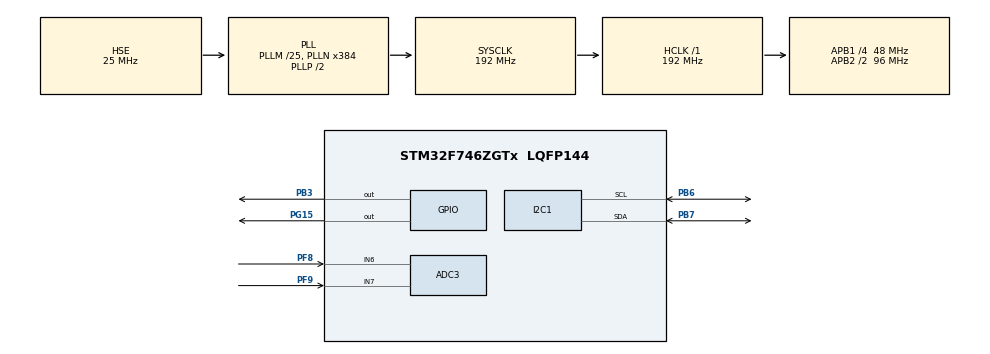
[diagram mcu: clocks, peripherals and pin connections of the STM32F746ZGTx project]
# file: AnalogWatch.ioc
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ADC3.Channel-0\#ChannelRegularConversion=ADC_CHANNEL_6
ADC3.ContinuousConvMode=ENABLE
ADC3.DMAContinuousRequests=ENABLE
ADC3.EOCSelection=ADC_EOC_SEQ_CONV
ADC3.InjNumberOfConversion=0
ADC3.NbrOfConversion=1
ADC3.NbrOfConversionFlag=1
ADC3.Rank-0\#ChannelRegularConversion=1
ADC3.SamplingTime-0\#ChannelRegularConversion=ADC_SAMPLETIME_480CYCLES
ADC3.ScanConvMode=ADC_SCAN_ENABLE
Dma.ADC3.0.Direction=DMA_PERIPH_TO_MEMORY
Dma.ADC3.0.FIFOMode=DMA_FIFOMODE_DISABLE
Dma.ADC3.0.Instance=DMA2_Stream0
Dma.ADC3.0.MemDataAlignment=DMA_MDATAALIGN_WORD
Dma.ADC3.0.MemInc=DMA_MINC_ENABLE
Dma.ADC3.0.Mode=DMA_CIRCULAR
Dma.ADC3.0.PeriphDataAlignment=DMA_PDATAALIGN_WORD
Dma.ADC3.0.PeriphInc=DMA_PINC_DISABLE
Dma.ADC3.0.Priority=DMA_PRIORITY_LOW
Dma.Request0=ADC3
I2C1.Timing=0x20303E5D
Mcu.Family=STM32F7
Mcu.Name=STM32F746ZGTx
Mcu.Package=LQFP144
NVIC.DMA2_Stream0_IRQn=true\:0\:0\:false\:false\:true\:false\:true
NVIC.PriorityGroup=NVIC_PRIORITYGROUP_4
PB3.Signal=GPIO_Output
PB4.Signal=S_TIM3_CH1
PB6.Mode=I2C
PB6.Signal=I2C1_SCL
PB7.Mode=I2C
PB7.Signal=I2C1_SDA
PC14/OSC32_IN.Mode=LSE-External-Oscillator
PC14/OSC32_IN.Signal=RCC_OSC32_IN
PC15/OSC32_OUT.Mode=LSE-External-Oscillator
PC15/OSC32_OUT.Signal=RCC_OSC32_OUT
PF8.Mode=IN6
PF8.Signal=ADC3_IN6
PF9.Mode=IN7
PF9.Signal=ADC3_IN7
PG15.Signal=GPIO_Output
PH0/OSC_IN.Mode=HSE-External-Oscillator
PH0/OSC_IN.Signal=RCC_OSC_IN
PH1/OSC_OUT.Mode=HSE-External-Oscillator
PH1/OSC_OUT.Signal=RCC_OSC_OUT
ProjectManager.HeapSize=0x200
ProjectManager.StackSize=0x400
ProjectManager.TargetToolchain=STM32CubeIDE
RCC.AHBFreq_Value=192000000
RCC.APB1CLKDivider=RCC_HCLK_DIV4
RCC.APB1Freq_Value=48000000
RCC.APB1TimFreq_Value=96000000
RCC.APB2CLKDivider=RCC_HCLK_DIV2
RCC.APB2Freq_Value=96000000
RCC.APB2TimFreq_Value=192000000
RCC.CortexFreq_Value=192000000
RCC.HCLKFreq_Value=192000000
RCC.HSE_VALUE=25000000
RCC.HSI_VALUE=16000000
RCC.PLLM=25
RCC.PLLN=384
RCC.PLLQ=8
RCC.PLLSourceVirtual=RCC_PLLSOURCE_HSE
RCC.SYSCLKFreq_VALUE=192000000
RCC.SYSCLKSource=RCC_SYSCLKSOURCE_PLLCLK
RCC.USBFreq_Value=48000000
RCC.VCOOutputFreq_Value=384000000
RTC.Hours=23
RTC.Minutes=59
RTC.Seconds=55
RTC.Year=22
SH.S_TIM3_CH1.0=TIM3_CH1
VP_RTC_VS_RTC_Activate.Mode=RTC_Enabled
VP_RTC_VS_RTC_Calendar.Mode=RTC_Calendar
board=custom

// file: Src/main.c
/* USER CODE BEGIN Header */
/**
  ******************************************************************************
  * @file           : main.c
  * @brief          : Main program body
  ******************************************************************************
  * @attention
  *
  * <h2><center>&copy; Copyright (c) 2021 STMicroelectronics.
  * All rights reserved.</center></h2>
  *
  * This software component is licensed by ST under Ultimate Liberty license
  * SLA0044, the "License"; You may not use this file except in compliance with
  * the License. You may obtain a copy of the License at:
  *                             www.st.com/SLA0044
  *
  ******************************************************************************
  */
/* USER CODE END Header */

#include "main.h"

/* USER CODE BEGIN Includes */

#include "SSD1963.h"
#include "STMPE610.h"

#include "GUI.h"
#include "LCDConf.h"

#include <stdint.h>
#include <stdio.h>
#include <math.h>

/* USER CODE END Includes */

/* USER CODE BEGIN PTD */
extern volatile GUI_TIMER_TIME OS_TimeMS;
/* USER CODE END PTD */

/* USER CODE BEGIN PM */
#define HOURS_TYPE 0
#define MINUTES_TYPE 1
#define SECONDS_TYPE 2

#define DATE_TYPE 0
#define MONTH_TYPE 1
#define YEAR_TYPE 2
/* USER CODE END PM */

ADC_HandleTypeDef hadc3;
DMA_HandleTypeDef hdma_adc3;

I2C_HandleTypeDef hi2c1;

RTC_HandleTypeDef hrtc;

/* USER CODE BEGIN PV */

GUI_MEMDEV_Handle hMem, hMem_clock, hMem_temp;

uint32_t ADC_BUF[1], temperatura_ADC_sirovo;

float angle = 0;
int x_coordinate = 0;
int y_coordinate = 0;

/* USER CODE END PV */

void SystemClock_Config(void);
static void MX_GPIO_Init(void);
static void MX_DMA_Init(void);
static void MX_I2C1_Init(void);
static void MX_ADC3_Init(void);
static void MX_RTC_Init(void);
/* USER CODE BEGIN PFP */

int get_time(int type);
int get_date(int type);
int get_temp(void);
void draw_display(void);
void draw_clock(void);
void draw_temperature(void);

/* USER CODE END PFP */

/* USER CODE BEGIN 0 */

void HAL_SYSTICK_Callback(void)
{
	OS_TimeMS++;
}

void HAL_ADC_ConvCpltCallback(ADC_HandleTypeDef* hadc)  //ova fja se pozove kad se izvrsi jedna konverzija
{
	if(hadc->Instance == ADC3)
	{
		temperatura_ADC_sirovo = ADC_BUF[0];
	}
}

/* USER CODE END 0 */

int main(void)
{

  /* MCU Configuration--------------------------------------------------------*/

  /* Reset of all peripherals, Initializes the Flash interface and the Systick. */
  HAL_Init();

  /* Configure the system clock */
  SystemClock_Config();

  /* Initialize all configured peripherals */
  MX_GPIO_Init();
  MX_DMA_Init();
  MX_I2C1_Init();
  MX_ADC3_Init();
  MX_RTC_Init();
  /* USER CODE BEGIN 2 */
  HAL_ADC_Start_DMA(&hadc3,ADC_BUF,1);
  Init_LCD_GPIO();
  Init_TOUCH_GPIO(hi2c1);
  STMPE610_Init();

  GUI_Init();

  draw_display();

  /* USER CODE END 2 */

  /* Infinite loop */
  while (1)
  {

    /* USER CODE BEGIN 3 */

	draw_clock();

	draw_temperature();

  }
  /* USER CODE END 3 */
}

void SystemClock_Config(void)
{
  RCC_OscInitTypeDef RCC_OscInitStruct = {0};
  RCC_ClkInitTypeDef RCC_ClkInitStruct = {0};
  RCC_PeriphCLKInitTypeDef PeriphClkInitStruct = {0};

  /** Configure LSE Drive Capability
  */
  HAL_PWR_EnableBkUpAccess();
  /** Configure the main internal regulator output voltage
  */
  __HAL_RCC_PWR_CLK_ENABLE();
  __HAL_PWR_VOLTAGESCALING_CONFIG(PWR_REGULATOR_VOLTAGE_SCALE1);
  /** Initializes the CPU, AHB and APB busses clocks
  */
  RCC_OscInitStruct.OscillatorType = RCC_OSCILLATORTYPE_LSI|RCC_OSCILLATORTYPE_HSE;
  RCC_OscInitStruct.HSEState = RCC_HSE_ON;
  RCC_OscInitStruct.LSIState = RCC_LSI_ON;
  RCC_OscInitStruct.PLL.PLLState = RCC_PLL_ON;
  RCC_OscInitStruct.PLL.PLLSource = RCC_PLLSOURCE_HSE;
  RCC_OscInitStruct.PLL.PLLM = 25;
  RCC_OscInitStruct.PLL.PLLN = 384;
  RCC_OscInitStruct.PLL.PLLP = RCC_PLLP_DIV2;
  RCC_OscInitStruct.PLL.PLLQ = 8;
  if (HAL_RCC_OscConfig(&RCC_OscInitStruct) != HAL_OK)
  {
    Error_Handler();
  }
  /** Activate the Over-Drive mode
  */
  if (HAL_PWREx_EnableOverDrive() != HAL_OK)
  {
    Error_Handler();
  }
  /** Initializes the CPU, AHB and APB busses clocks
  */
  RCC_ClkInitStruct.ClockType = RCC_CLOCKTYPE_HCLK|RCC_CLOCKTYPE_SYSCLK
                              |RCC_CLOCKTYPE_PCLK1|RCC_CLOCKTYPE_PCLK2;
  RCC_ClkInitStruct.SYSCLKSource = RCC_SYSCLKSOURCE_PLLCLK;
  RCC_ClkInitStruct.AHBCLKDivider = RCC_SYSCLK_DIV1;
  RCC_ClkInitStruct.APB1CLKDivider = RCC_HCLK_DIV4;
  RCC_ClkInitStruct.APB2CLKDivider = RCC_HCLK_DIV2;

  if (HAL_RCC_ClockConfig(&RCC_ClkInitStruct, FLASH_LATENCY_6) != HAL_OK)
  {
    Error_Handler();
  }
  PeriphClkInitStruct.PeriphClockSelection = RCC_PERIPHCLK_RTC|RCC_PERIPHCLK_I2C1;
  PeriphClkInitStruct.RTCClockSelection = RCC_RTCCLKSOURCE_LSI;
  PeriphClkInitStruct.I2c1ClockSelection = RCC_I2C1CLKSOURCE_PCLK1;
  if (HAL_RCCEx_PeriphCLKConfig(&PeriphClkInitStruct) != HAL_OK)
  {
    Error_Handler();
  }
}

static void MX_ADC3_Init(void)
{

  ADC_ChannelConfTypeDef sConfig = {0};

  /** Configure the global features of the ADC (Clock, Resolution, Data Alignment and number of conversion)
  */
  hadc3.Instance = ADC3;
  hadc3.Init.ClockPrescaler = ADC_CLOCK_SYNC_PCLK_DIV4;
  hadc3.Init.Resolution = ADC_RESOLUTION_12B;
  hadc3.Init.ScanConvMode = ADC_SCAN_ENABLE;
  hadc3.Init.ContinuousConvMode = ENABLE;
  hadc3.Init.DiscontinuousConvMode = DISABLE;
  hadc3.Init.ExternalTrigConvEdge = ADC_EXTERNALTRIGCONVEDGE_NONE;
  hadc3.Init.ExternalTrigConv = ADC_SOFTWARE_START;
  hadc3.Init.DataAlign = ADC_DATAALIGN_RIGHT;
  hadc3.Init.NbrOfConversion = 1;
  hadc3.Init.DMAContinuousRequests = ENABLE;
  hadc3.Init.EOCSelection = ADC_EOC_SEQ_CONV;
  if (HAL_ADC_Init(&hadc3) != HAL_OK)
  {
    Error_Handler();
  }
  /** Configure for the selected ADC regular channel its corresponding rank in the sequencer and its sample time.
  */
  sConfig.Channel = ADC_CHANNEL_6;
  sConfig.Rank = ADC_REGULAR_RANK_1;
  sConfig.SamplingTime = ADC_SAMPLETIME_480CYCLES;
  if (HAL_ADC_ConfigChannel(&hadc3, &sConfig) != HAL_OK)
  {
    Error_Handler();
  }

}

static void MX_I2C1_Init(void)
{

  hi2c1.Instance = I2C1;
  hi2c1.Init.Timing = 0x20303E5D;
  hi2c1.Init.OwnAddress1 = 0;
  hi2c1.Init.AddressingMode = I2C_ADDRESSINGMODE_7BIT;
  hi2c1.Init.DualAddressMode = I2C_DUALADDRESS_DISABLE;
  hi2c1.Init.OwnAddress2 = 0;
  hi2c1.Init.OwnAddress2Masks = I2C_OA2_NOMASK;
  hi2c1.Init.GeneralCallMode = I2C_GENERALCALL_DISABLE;
  hi2c1.Init.NoStretchMode = I2C_NOSTRETCH_DISABLE;
  if (HAL_I2C_Init(&hi2c1) != HAL_OK)
  {
    Error_Handler();
  }
  /** Configure Analogue filter
  */
  if (HAL_I2CEx_ConfigAnalogFilter(&hi2c1, I2C_ANALOGFILTER_ENABLE) != HAL_OK)
  {
    Error_Handler();
  }
  /** Configure Digital filter
  */
  if (HAL_I2CEx_ConfigDigitalFilter(&hi2c1, 0) != HAL_OK)
  {
    Error_Handler();
  }

}

static void MX_RTC_Init(void)
{

  RTC_TimeTypeDef sTime = {0};
  RTC_DateTypeDef sDate = {0};

  /** Initialize RTC Only
  */
  hrtc.Instance = RTC;
  hrtc.Init.HourFormat = RTC_HOURFORMAT_24;
  hrtc.Init.AsynchPrediv = 127;
  hrtc.Init.SynchPrediv = 255;
  hrtc.Init.OutPut = RTC_OUTPUT_DISABLE;
  hrtc.Init.OutPutPolarity = RTC_OUTPUT_POLARITY_HIGH;
  hrtc.Init.OutPutType = RTC_OUTPUT_TYPE_OPENDRAIN;
  if (HAL_RTC_Init(&hrtc) != HAL_OK)
  {
    Error_Handler();
  }

  /** Initialize RTC and set the Time and Date
  */
  sTime.Hours = 0x0;
  sTime.Minutes = 0x59;
  sTime.Seconds = 0x55;
  sTime.DayLightSaving = RTC_DAYLIGHTSAVING_NONE;
  sTime.StoreOperation = RTC_STOREOPERATION_RESET;
  if (HAL_RTC_SetTime(&hrtc, &sTime, RTC_FORMAT_BCD) != HAL_OK)
  {
    Error_Handler();
  }
  sDate.WeekDay = RTC_WEEKDAY_MONDAY;
  sDate.Month = RTC_MONTH_JANUARY;
  sDate.Date = 0x1;
  sDate.Year = 0x22;

  if (HAL_RTC_SetDate(&hrtc, &sDate, RTC_FORMAT_BCD) != HAL_OK)
  {
    Error_Handler();
  }

}

static void MX_DMA_Init(void)
{

  /* DMA controller clock enable */
  __HAL_RCC_DMA2_CLK_ENABLE();

  /* DMA interrupt init */
  /* DMA2_Stream0_IRQn interrupt configuration */
  HAL_NVIC_SetPriority(DMA2_Stream0_IRQn, 0, 0);
  HAL_NVIC_EnableIRQ(DMA2_Stream0_IRQn);

}

static void MX_GPIO_Init(void)
{
  GPIO_InitTypeDef GPIO_InitStruct = {0};

  /* GPIO Ports Clock Enable */
  __HAL_RCC_GPIOC_CLK_ENABLE();
  __HAL_RCC_GPIOF_CLK_ENABLE();
  __HAL_RCC_GPIOH_CLK_ENABLE();
  __HAL_RCC_GPIOG_CLK_ENABLE();
  __HAL_RCC_GPIOB_CLK_ENABLE();

  /*Configure GPIO pin Output Level */
  HAL_GPIO_WritePin(GPIOG, GPIO_PIN_15, GPIO_PIN_RESET);

  /*Configure GPIO pin Output Level */
  HAL_GPIO_WritePin(GPIOB, GPIO_PIN_3, GPIO_PIN_RESET);

  /*Configure GPIO pin : PG15 */
  GPIO_InitStruct.Pin = GPIO_PIN_15;
  GPIO_InitStruct.Mode = GPIO_MODE_OUTPUT_PP;
  GPIO_InitStruct.Pull = GPIO_NOPULL;
  GPIO_InitStruct.Speed = GPIO_SPEED_FREQ_LOW;
  HAL_GPIO_Init(GPIOG, &GPIO_InitStruct);

  /*Configure GPIO pin : PB3 */
  GPIO_InitStruct.Pin = GPIO_PIN_3;
  GPIO_InitStruct.Mode = GPIO_MODE_OUTPUT_PP;
  GPIO_InitStruct.Pull = GPIO_NOPULL;
  GPIO_InitStruct.Speed = GPIO_SPEED_FREQ_LOW;
  HAL_GPIO_Init(GPIOB, &GPIO_InitStruct);

  /*Configure GPIO pin : PB4 */
  GPIO_InitStruct.Pin = GPIO_PIN_4;
  GPIO_InitStruct.Mode = GPIO_MODE_AF_PP;
  GPIO_InitStruct.Pull = GPIO_NOPULL;
  GPIO_InitStruct.Speed = GPIO_SPEED_FREQ_LOW;
  GPIO_InitStruct.Alternate = GPIO_AF2_TIM3;
  HAL_GPIO_Init(GPIOB, &GPIO_InitStruct);

}

/* USER CODE BEGIN 4 */

int get_time(int type)
{
	RTC_TimeTypeDef gTime;

	HAL_RTC_GetTime(&hrtc, &gTime, RTC_FORMAT_BIN);

	if(type == HOURS_TYPE)
		return gTime.Hours;
	if(type == MINUTES_TYPE)
		return gTime.Minutes;
	return gTime.Seconds;
}

int get_date(int type)
{
	RTC_DateTypeDef gDate;

	HAL_RTC_GetDate(&hrtc, &gDate, RTC_FORMAT_BIN);

	if(type == DATE_TYPE)
		return gDate.Date;
	if(type == MONTH_TYPE)
		return gDate.Month;
	return gDate.Year;
}

int get_temp(void)
{
	float temperatura = 0.0;

	temperatura = (100.0*(((float)temperatura_ADC_sirovo)/(2048.0)-0.5));
	temperatura = (int)temperatura;

	return temperatura;
}

void draw_display(void)
{
	hMem = GUI_MEMDEV_Create(0,0,480,272);

	GUI_MEMDEV_Select(hMem);
	GUI_SetBkColor(GUI_WHITE);
	GUI_Clear();
	GUI_SetColor(GUI_BLACK);
	GUI_SetDrawMode(GUI_DRAWMODE_NORMAL);
	GUI_SetPenSize( 5 );
	GUI_DrawArc(136, 136, 130, 130, -90, 280);

	GUI_SetPenSize( 8 );
	angle = 90;
	angle=(angle/57.29577951) ; //Convert degrees to radians
	x_coordinate=(136+(sin(angle)*120));
	y_coordinate=(136-(cos(angle)*120));
	GUI_DrawPoint(x_coordinate, y_coordinate); //3

	angle = 270;
	angle=(angle/57.29577951) ; //Convert degrees to radians
	x_coordinate=(136+(sin(angle)*120));
	y_coordinate=(136-(cos(angle)*120));
	GUI_DrawPoint(x_coordinate, y_coordinate); //9

	angle = 0;
	angle=(angle/57.29577951) ; //Convert degrees to radians
	x_coordinate=(136+(sin(angle)*120));
	y_coordinate=(136-(cos(angle)*120));
	GUI_SetFont(&GUI_Font16B_ASCII);
	GUI_DispStringHCenterAt("XII", x_coordinate, y_coordinate-5);

	angle = 180;
	angle=(angle/57.29577951) ; //Convert degrees to radians
	x_coordinate=(136+(sin(angle)*120));
	y_coordinate=(136-(cos(angle)*120));
	GUI_DrawPoint(x_coordinate, y_coordinate); //6

	GUI_SetPenSize( 6 );
	angle = 60;
	angle=(angle/57.29577951) ; //Convert degrees to radians
	x_coordinate=(136+(sin(angle)*120));
	y_coordinate=(136-(cos(angle)*120));
	GUI_DrawPoint(x_coordinate, y_coordinate); //2

	angle = 300;
	angle=(angle/57.29577951) ; //Convert degrees to radians
	x_coordinate=(136+(sin(angle)*120));
	y_coordinate=(136-(cos(angle)*120));
	GUI_DrawPoint(x_coordinate, y_coordinate); //10

	angle = 120;
	angle=(angle/57.29577951) ; //Convert degrees to radians
	x_coordinate=(136+(sin(angle)*120));
	y_coordinate=(136-(cos(angle)*120));
	GUI_DrawPoint(x_coordinate, y_coordinate); //4

	angle = 240;
	angle=(angle/57.29577951) ; //Convert degrees to radians
	x_coordinate=(136+(sin(angle)*120));
	y_coordinate=(136-(cos(angle)*120));
	GUI_DrawPoint(x_coordinate, y_coordinate); //8

	angle = 30;
	angle=(angle/57.29577951) ; //Convert degrees to radians
	x_coordinate=(136+(sin(angle)*120));
	y_coordinate=(136-(cos(angle)*120));
	GUI_DrawPoint(x_coordinate, y_coordinate); //1

	angle = 150;
	angle=(angle/57.29577951) ; //Convert degrees to radians
	x_coordinate=(136+(sin(angle)*120));
	y_coordinate=(136-(cos(angle)*120));
	GUI_DrawPoint(x_coordinate, y_coordinate); //5

	angle = 330;
	angle=(angle/57.29577951) ; //Convert degrees to radians
	x_coordinate=(136+(sin(angle)*120));
	y_coordinate=(136-(cos(angle)*120));
	GUI_DrawPoint(x_coordinate, y_coordinate); //11

	angle = 210;
	angle=(angle/57.29577951) ; //Convert degrees to radians
	x_coordinate=(136+(sin(angle)*120));
	y_coordinate=(136-(cos(angle)*120));
	GUI_DrawPoint(x_coordinate, y_coordinate); //7

	GUI_SetFont(&GUI_Font13_ASCII);
	GUI_SetTextMode(GUI_TM_TRANS);
	GUI_DispStringHCenterAt("00 - 01 :", 350, 10);
	GUI_DispStringHCenterAt("01 - 02 :", 350, 20);
	GUI_DispStringHCenterAt("02 - 03 :", 350, 30);
	GUI_DispStringHCenterAt("03 - 04 :", 350, 40);
	GUI_DispStringHCenterAt("04 - 05 :", 350, 50);
	GUI_DispStringHCenterAt("05 - 06 :", 350, 60);
	GUI_DispStringHCenterAt("06 - 07 :", 350, 70);
	GUI_DispStringHCenterAt("07 - 08 :", 350, 80);
	GUI_DispStringHCenterAt("08 - 09 :", 350, 90);
	GUI_DispStringHCenterAt("09 - 10 :", 350, 100);
	GUI_DispStringHCenterAt("10 - 11 :", 350, 110);
	GUI_DispStringHCenterAt("11 - 12 :", 350, 120);
	GUI_DispStringHCenterAt("12 - 13 :", 350, 130);
	GUI_DispStringHCenterAt("13 - 14 :", 350, 140);
	GUI_DispStringHCenterAt("14 - 15 :", 350, 150);
	GUI_DispStringHCenterAt("15 - 16 :", 350, 160);
	GUI_DispStringHCenterAt("16 - 17 :", 350, 170);
	GUI_DispStringHCenterAt("17 - 18 :", 350, 180);
	GUI_DispStringHCenterAt("18 - 19 :", 350, 190);
	GUI_DispStringHCenterAt("19 - 20 :", 350, 200);
	GUI_DispStringHCenterAt("20 - 21 :", 350, 210);
	GUI_DispStringHCenterAt("21 - 22 :", 350, 220);
	GUI_DispStringHCenterAt("22 - 23 :", 350, 230);
	GUI_DispStringHCenterAt("23 - 00 :", 350, 240);

	GUI_MEMDEV_CopyToLCD(hMem);
	GUI_MEMDEV_Delete(hMem);
}

void draw_clock(void)
{
	int date_tmp[3];
	char date[12];

	hMem_clock = GUI_MEMDEV_Create(46,46,180,180);
	GUI_MEMDEV_Select(hMem_clock);
	GUI_Clear();

	GUI_SetColor(GUI_BLACK);
	GUI_SetFont(&GUI_Font24B_ASCII);
	GUI_SetTextMode(GUI_TM_TRANS);
	GUI_DispStringHCenterAt("SEIKO", 136, 80);

	// ---------- SAT ---------- //
	angle = 30 * (get_time(HOURS_TYPE) % 12) + (get_time(MINUTES_TYPE)/2) + (get_time(SECONDS_TYPE)/30);
	angle=(angle/57.29577951) ; //Convert degrees to radians
	x_coordinate=(136+(sin(angle)*50));
	y_coordinate=(136-(cos(angle)*50));

	GUI_SetColor(GUI_BLACK);
	GUI_SetPenSize( 10 );
	GUI_DrawLine(136, 136, x_coordinate, y_coordinate);//sat

	// ---------- MINUT ---------- //
	angle = 6 * (get_time(MINUTES_TYPE)) + (get_time(SECONDS_TYPE)/10);
	angle=(angle/57.29577951) ; //Convert degrees to radians
	x_coordinate=(136+(sin(angle)*80));
	y_coordinate=(136-(cos(angle)*80));

	GUI_SetPenSize( 6 );
	GUI_DrawLine(136, 136, x_coordinate, y_coordinate);//minut

	// ---------- SEKUND ---------- //
	angle = 6 * (get_time(SECONDS_TYPE));
	angle=(angle/57.29577951) ; //Convert degrees to radians
	x_coordinate=(136+(sin(angle)*90));
	y_coordinate=(136-(cos(angle)*90));

	GUI_SetColor(GUI_RED);
	GUI_SetPenSize( 4 );
	GUI_DrawLine(136, 136, x_coordinate, y_coordinate);//sekund

	// ---------- DATUM ---------- //
	GUI_SetColor(GUI_BLACK);
	date_tmp[0] = get_date(DATE_TYPE);
	date_tmp[1] = get_date(MONTH_TYPE);
	date_tmp[2] = get_date(YEAR_TYPE);
	sprintf((char*)date, "%02d:%02d:20%02d\r", date_tmp[0], date_tmp[1], date_tmp[2]);
	GUI_SetFont(&GUI_Font24B_ASCII);
	GUI_SetTextMode(GUI_TM_TRANS);
	GUI_DispStringHCenterAt(date, 136, 200);

	GUI_MEMDEV_CopyToLCD(hMem_clock);
	GUI_MEMDEV_Delete(hMem_clock);
}

void draw_temperature(void)
{
	char temperatura_string[10];
	int tmp;

	hMem_temp = GUI_MEMDEV_Create(375, 0, 80, 255);
	GUI_MEMDEV_Select(hMem_temp);
	GUI_SetColor(GUI_BLACK);

	if( (get_time(MINUTES_TYPE) == 0) && (get_time(SECONDS_TYPE) == 0) )
	{
		if(get_time(HOURS_TYPE) == 1)
			GUI_Clear();
		GUI_SetColor(GUI_BLACK);
		tmp = get_temp();
		sprintf( (char *)temperatura_string, "%02d C\r", tmp);
		GUI_SetFont(&GUI_Font13B_ASCII);
		GUI_SetTextMode(GUI_TM_TRANS);
		if(get_time(HOURS_TYPE) == 0)
			GUI_DispStringHCenterAt(temperatura_string, 390, 240);
		else
			GUI_DispStringHCenterAt(temperatura_string, 390, 10*get_time(HOURS_TYPE));
		GUI_Delay(1000);
	}

	GUI_MEMDEV_CopyToLCD(hMem_temp);
	GUI_MEMDEV_Delete(hMem_temp);
}

/* USER CODE END 4 */

void Error_Handler(void)
{
}

/************************ (C) COPYRIGHT STMicroelectronics *****END OF FILE****/
